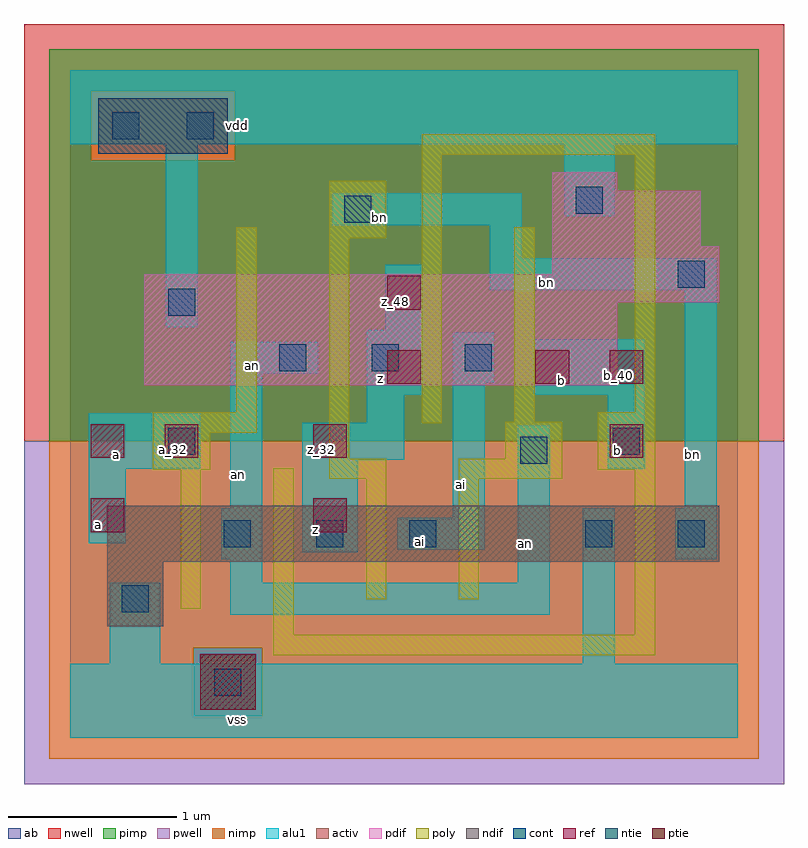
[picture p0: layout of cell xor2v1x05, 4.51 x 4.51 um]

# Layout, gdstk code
import gdstk
lib = gdstk.Library(unit=1e-6, precision=2.5e-09)
def R(c, l, rs):  # rectangles x0, y0, x1, y1
    for r in rs: c.add(gdstk.rectangle(r[:2], r[2:], *l))
def A(c, l, x, y, w, h, nx, ny, dx, dy):  # array of equal rectangles
    R(c, l, [(x+i*dx, y+j*dy, x+i*dx+w, y+j*dy+h) for i in range(nx) for j in range(ny)])
ndif = (3, 0)
pdif = (4, 0)
ntie = (5, 0)
ptie = (6, 0)
ref = (24, 0)
cont = (25, 0)
pwell = (41, 0)
nwell = (42, 0)
activ = (43, 0)
pimp = (44, 0)
nimp = (45, 0)
poly = (46, 0)
alu1 = (49, 0)
ab = (63, 0)

xor2v1x05 = lib.new_cell('xor2v1x05')
R(xor2v1x05, ndif, [(0.22,0.66,0.55,1.045), (0.22,1.045,3.85,1.375)])
R(xor2v1x05, pdif, [(0.44,2.09,3.245,2.585), (0.44,2.585,3.85,2.75), (2.86,2.75,3.85,2.915), (2.86,2.915,3.74,3.245), (2.86,3.245,3.245,3.355)])
R(xor2v1x05, ntie, [(0.165,3.465,0.935,3.795)])
R(xor2v1x05, ptie, [(0.77,0.165,1.1,0.495)])
R(xor2v1x05, ref, [(0.12,1.22,0.32,1.42), (1.44,1.22,1.64,1.42), (0.12,1.66,0.32,1.86), (0.56,1.66,0.76,1.86), (1.44,1.66,1.64,1.86), (3.2,1.66,3.4,1.86), (1.88,2.1,2.08,2.3), (2.76,2.1,2.96,2.3), (3.2,2.1,3.4,2.3), (1.88,2.54,2.08,2.74)])
A(xor2v1x05, cont, 0.91, 1.13, 0.16, 0.16, 3, 1, 0.55, 0)
A(xor2v1x05, cont, 1.24, 2.175, 0.16, 0.16, 3, 1, 0.55, 0)
R(xor2v1x05, cont, [(0.855,0.25,1.015,0.41), (0.305,0.745,0.465,0.905), (3.055,1.13,3.215,1.29), (3.605,1.13,3.765,1.29), (2.67,1.625,2.83,1.785), (0.58,1.68,0.74,1.84), (3.22,1.68,3.38,1.84), (0.58,2.505,0.74,2.665), (3.605,2.67,3.765,2.83), (1.625,3.055,1.785,3.215), (3,3.11,3.16,3.27), (0.25,3.55,0.41,3.71), (0.69,3.55,0.85,3.71)])
R(xor2v1x05, pwell, [(-0.275,-0.275,4.235,1.76)])
R(xor2v1x05, nwell, [(-0.275,1.76,4.235,4.235)])
R(xor2v1x05, activ, [(0.77,0.165,1.1,0.495), (0.22,0.66,0.55,1.045), (0.22,1.045,3.85,1.375), (0.44,2.09,3.245,2.585), (0.44,2.585,3.85,2.75), (2.86,2.75,3.85,2.915), (2.86,2.915,3.74,3.245), (2.86,3.245,3.245,3.355), (0.165,3.465,0.935,3.795)])
R(xor2v1x05, pimp, [(0.73,0.125,1.14,0.535), (-0.125,1.76,4.085,3.425), (-0.125,3.425,0.125,3.835), (0.975,3.425,4.085,3.835), (-0.125,3.835,4.085,4.085)])
R(xor2v1x05, nimp, [(-0.125,-0.125,4.085,0.125), (-0.125,0.125,0.73,0.535), (1.14,0.125,4.085,0.535), (-0.125,0.535,4.085,1.76), (0.125,3.425,0.975,3.835)])
R(xor2v1x05, poly, [(1.205,0.49,3.47,0.61), (1.205,0.61,1.325,1.6), (3.35,0.61,3.47,1.59), (0.655,0.765,0.775,1.59), (1.755,0.82,1.875,1.535), (2.305,0.82,2.425,1.535), (1.535,1.535,1.875,1.655), (2.305,1.535,2.92,1.655), (0.49,1.59,0.83,1.81), (3.13,1.59,3.47,1.93), (1.535,1.655,1.655,2.965), (2.58,1.655,2.92,1.875), (0.49,1.81,1.105,1.93), (2.085,1.865,2.205,3.46), (2.635,1.875,2.755,3.03), (0.985,1.93,1.105,3.03), (3.35,1.93,3.47,3.46), (1.535,2.965,1.875,3.305), (2.085,3.46,3.47,3.58)])
R(xor2v1x05, alu1, [(0,0,3.96,0.44), (0.235,0.44,0.535,0.92), (3.04,0.44,3.23,1.36), (0.95,0.73,2.845,0.92), (0.95,0.92,1.14,1.06), (2.655,0.92,2.845,1.855), (0.895,1.06,1.14,1.36), (3.59,1.06,3.835,1.36), (1.375,1.1,1.705,1.65), (1.94,1.115,2.46,1.305), (0.11,1.155,0.33,1.595), (2.27,1.305,2.46,2.105), (0.95,1.36,1.14,2.16), (3.645,1.36,3.835,2.655), (0.11,1.595,0.77,1.925), (3.19,1.595,3.41,2.035), (1.375,1.65,1.98,1.87), (1.76,1.87,1.98,2.035), (1.76,2.035,2.09,2.42), (2.75,2.035,3.41,2.365), (2.27,2.105,2.515,2.405), (0.95,2.16,1.47,2.35), (1.87,2.42,2.09,2.805), (0.565,2.435,0.755,3.52), (2.49,2.655,3.835,2.845), (2.49,2.845,2.68,3.04), (1.555,3.04,2.68,3.23), (2.93,3.095,3.23,3.52), (0,3.52,3.96,3.96)])
R(xor2v1x05, ab, [(0,0,3.96,3.96)])
xor2v1x05.add(gdstk.Label('vss', (0.99,0.11), layer=49, texttype=0))
xor2v1x05.add(gdstk.Label('bn', (3.6925,1.6825), layer=49, texttype=0))
xor2v1x05.add(gdstk.Label('b', (3.245,1.705), layer=49, texttype=0))
xor2v1x05.add(gdstk.Label('an', (2.7025,1.1525), layer=49, texttype=0))
xor2v1x05.add(gdstk.Label('ai', (2.07,1.1625), layer=49, texttype=0))
xor2v1x05.add(gdstk.Label('b', (2.915,2.1175), layer=49, texttype=0))
xor2v1x05.add(gdstk.Label('ai', (2.3175,1.505), layer=49, texttype=0))
xor2v1x05.add(gdstk.Label('z', (1.4575,1.2375), layer=49, texttype=0))
xor2v1x05.add(gdstk.Label('z', (1.8425,2.13), layer=49, texttype=0))
xor2v1x05.add(gdstk.Label('an', (0.9975,1.56), layer=49, texttype=0))
xor2v1x05.add(gdstk.Label('a', (0.165,1.265), layer=49, texttype=0))
xor2v1x05.add(gdstk.Label('a', (0.275,1.6775), layer=49, texttype=0))
xor2v1x05.add(gdstk.Label('an', (1.08,2.2075), layer=49, texttype=0))
xor2v1x05.add(gdstk.Label('bn', (2.825,2.7025), layer=49, texttype=0))
xor2v1x05.add(gdstk.Label('bn', (1.835,3.0875), layer=49, texttype=0))
xor2v1x05.add(gdstk.Label('vdd', (0.99,3.63), layer=49, texttype=0))
xor2v1x05.add(gdstk.Label('a_24', (0.17,1.27), layer=24, texttype=0))
xor2v1x05.add(gdstk.Label('a_32', (0.61,1.71), layer=24, texttype=0))
xor2v1x05.add(gdstk.Label('z_24', (1.49,1.27), layer=24, texttype=0))
xor2v1x05.add(gdstk.Label('z_32', (1.49,1.71), layer=24, texttype=0))
xor2v1x05.add(gdstk.Label('z_48', (1.93,2.59), layer=24, texttype=0))
xor2v1x05.add(gdstk.Label('a_32', (0.17,1.71), layer=24, texttype=0))
xor2v1x05.add(gdstk.Label('b_40', (2.81,2.15), layer=24, texttype=0))
xor2v1x05.add(gdstk.Label('b_32', (3.25,1.71), layer=24, texttype=0))
xor2v1x05.add(gdstk.Label('b_40', (3.25,2.15), layer=24, texttype=0))
xor2v1x05.add(gdstk.Label('z_40', (1.93,2.15), layer=24, texttype=0))

lib.write_gds('xor2v1x05.gds')
